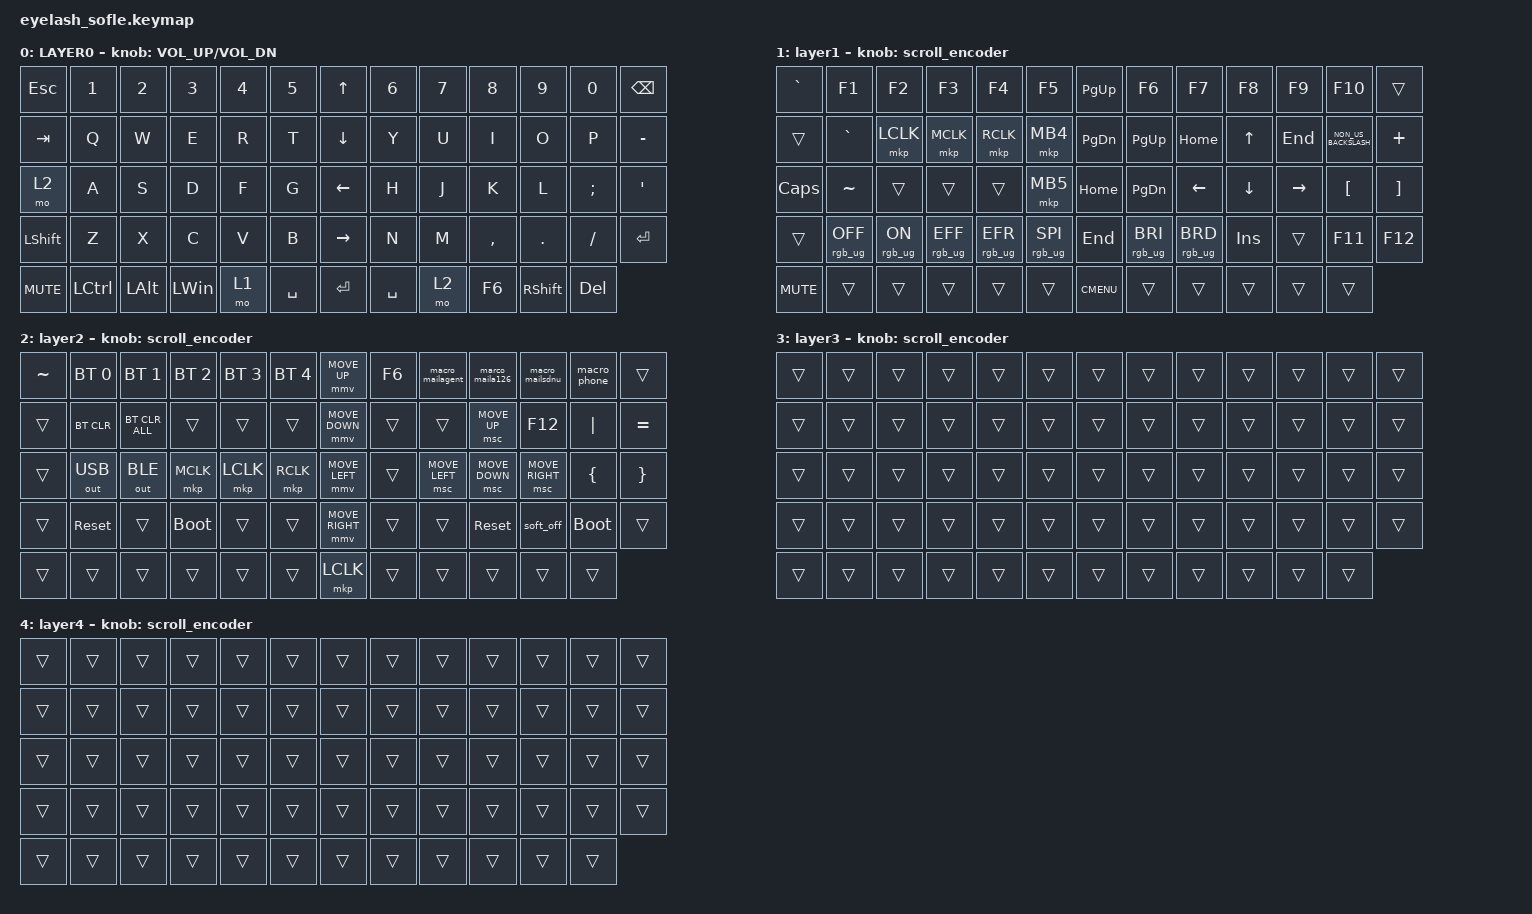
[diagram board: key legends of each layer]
#define ZMK_POINTING_DEFAULT_MOVE_VAL 1200  // 600
#define ZMK_POINTING_DEFAULT_SCRL_VAL 25   // 10

#include <input/processors.dtsi>
#include <zephyr/dt-bindings/input/input-event-codes.h>
#include <behaviors.dtsi>
#include <dt-bindings/zmk/bt.h>
#include <dt-bindings/zmk/keys.h>
#include <dt-bindings/zmk/outputs.h>
#include <dt-bindings/zmk/pointing.h>
#include <dt-bindings/zmk/rgb.h>

&mmv_input_listener { input-processors = <&zip_xy_scaler 2 1>; };

&msc_input_listener { input-processors = <&zip_scroll_scaler 2 1>; };

&msc {
    acceleration-exponent = <1>;      // 0
    time-to-max-speed-ms = <100>;       // 300
    delay-ms = <0>;                   // 0
};

&mmv {
    time-to-max-speed-ms = <500>;
    acceleration-exponent = <1>;
    trigger-period-ms = <16>;
};

&soft_off { hold-time-ms = <2000>; };

/ {
    scroll_encoder: scroll_encoder {
        compatible = "zmk,behavior-sensor-rotate";
        #sensor-binding-cells = <0>;
        bindings = <&msc SCRL_DOWN>, <&msc SCRL_UP>;

        tap-ms = <100>;
    };

    behaviors {
    };

    combos {
        compatible = "zmk,combos";

        softoff {
            bindings = <&soft_off>;
            key-positions = <14 28 40>;
        };

        del {
            bindings = <&kp DEL>;
            key-positions = <11 12>;
            layers = <0>;
        };

        op-leftbrack {
            bindings = <&kp LEFT_BRACKET>;
            key-positions = <23 24>;
            layers = <0>;
        };

        p--rightbrack {
            bindings = <&kp RIGHT_BRACKET>;
            key-positions = <24 25>;
            layers = <0>;
        };

        as-toSave {
            bindings = <&kp LC(S)>;
            key-positions = <27 28>;
            layers = <0>;
        };

        zx-toCancel {
            bindings = <&kp LC(Z)>;
            key-positions = <40 41>;
            layers = <0>;
        };

        xc-toCopy {
            bindings = <&kp LC(C)>;
            key-positions = <41 42>;
            layers = <0>;
        };

        cv-toPaste {
            bindings = <&kp LC(V)>;
            key-positions = <42 43>;
            layers = <0>;
        };

        df-toFind {
            bindings = <&kp LC(F)>;
            key-positions = <29 30>;
            layers = <0>;
        };

        a90-doubleparenth {
            bindings = <&macro_double_kuohao>;
            key-positions = <11 10>;
        };

        atabq-grave {
            bindings = <&kp GRAVE>;
            key-positions = <13 14>;
        };

        ctrlShift {
            bindings = <&kp LC(LEFT_SHIFT)>;
            key-positions = <39 26>;
        };

        f-12 {
            bindings = <&kp F12>;
            key-positions = <51 50>;
        };

        add-comment {
            bindings = <&kp LC(LA(M))>;
            key-positions = <17 21>;
            require-prior-idle-ms = <300>;
        };

        word-modi {
            bindings = <&kp LC(LS(E))>;
            key-positions = <18 20>;
            require-prior-idle-ms = <300>;
        };
    };

    macros {
        SHIFT_MCLK: SHIFT_MCLK {
            compatible = "zmk,behavior-macro";
            #binding-cells = <0>;
            bindings =
                <&macro_press>,
                <&kp LEFT_SHIFT>,
                <&macro_press>,
                <&mkp MB3>,
                <&macro_pause_for_release>,
                <&macro_release>,
                <&kp LEFT_SHIFT &mkp MB3>;

            label = "SHIFT_MCLK";
        };

        macro_phone: new_macro {
            compatible = "zmk,behavior-macro";
            #binding-cells = <0>;
            bindings = <&kp N1 &kp N5 &kp N0 &kp N6 &kp N3 &kp N3 &kp N5 &kp N7 &kp N6 &kp N9 &kp N5>;
            label = "NEW_MACRO";
            wait-ms = <10>;
            tap-ms = <10>;
        };

        macro_mailagent: macro_mailagent {
            compatible = "zmk,behavior-macro";
            #binding-cells = <0>;
            bindings = <&kp A &kp G &kp E &kp N &kp T &kp UNDER &kp Z &kp H &kp A &kp N &kp G &kp L &kp I &kp A &kp N &kp G &kp AT &kp N1 &kp N2 &kp N6 &kp DOT &kp C &kp O &kp M>;
            label = "MACRO_MAILAGENT";
            wait-ms = <10>;
            tap-ms = <10>;
        };

        marco_maila126: marco_mailsdnu {
            compatible = "zmk,behavior-macro";
            #binding-cells = <0>;
            bindings = <&kp A &kp N1 &kp N6 &kp N9 &kp N3 &kp N6 &kp N1 &kp AT &kp N1 &kp N2 &kp N6 &kp DOT &kp C &kp O &kp M>;
            label = "MARCO_MAILSDNU";
            wait-ms = <10>;
            tap-ms = <10>;
        };

        macro_mailsdnu: macro_mailsdnu {
            compatible = "zmk,behavior-macro";
            #binding-cells = <0>;
            bindings = <&kp Z &kp H &kp A &kp N &kp G &kp L &kp I &kp A &kp N &kp G &kp N1 &kp AT &kp S &kp D &kp N &kp U &kp DOT &kp E &kp D &kp U &kp DOT &kp C &kp N>;
            label = "MACRO_MAILSDNU";
            wait-ms = <10>;
            tap-ms = <10>;
        };

        macro_double_kuohao: macro_double_kuohao {
            compatible = "zmk,behavior-macro";
            #binding-cells = <0>;
            bindings = <&kp LEFT_PARENTHESIS &kp RIGHT_PARENTHESIS &kp LEFT_ARROW>;
            label = "MACRO_DOUBLE_KUOHAO";
            wait-ms = <10>;
            tap-ms = <10>;
        };
    };

    keymap {
        compatible = "zmk,keymap";

        layer0 {
            bindings = <
&kp ESC     &kp N1     &kp N2        &kp N3        &kp N4  &kp N5       &kp UP_ARROW     &kp N6     &kp N7  &kp N8     &kp N9           &kp N0      &kp BACKSPACE
&kp TAB     &kp Q      &kp W         &kp E         &kp R   &kp T        &kp DOWN_ARROW   &kp Y      &kp U   &kp I      &kp O            &kp P       &kp MINUS
&mo 2       &kp A      &kp S         &kp D         &kp F   &kp G        &kp LEFT_ARROW   &kp H      &kp J   &kp K      &kp L            &kp SEMI    &kp APOS
&kp LSHFT   &kp Z      &kp X         &kp C         &kp V   &kp B        &kp RIGHT_ARROW  &kp N      &kp M   &kp COMMA  &kp DOT          &kp FSLH    &kp ENTER
&kp C_MUTE  &kp LCTRL  &kp LEFT_ALT  &kp LEFT_WIN  &mo 1   &kp SPACE    &kp ENTER        &kp SPACE  &mo 2   &kp F6     &kp RIGHT_SHIFT  &kp DELETE
            >;

            sensor-bindings = <&inc_dec_kp C_VOLUME_UP C_VOL_DN>;
            display-name = "LAYER0";
        };

        layer_1 {
            bindings = <
&kp GRAVE   &kp F1           &kp F2          &kp F3           &kp F4           &kp F5             &kp PG_UP      &kp F6           &kp F7           &kp F8      &kp F9     &kp F10               &trans
&trans      &kp GRAVE        &mkp LCLK       &mkp MCLK        &mkp RCLK        &mkp MB4           &kp PAGE_DOWN  &kp PG_UP        &kp HOME         &kp UP      &kp END    &kp NON_US_BACKSLASH  &kp PLUS
&kp CLCK    &kp TILDE        &trans          &trans           &trans           &mkp MB5           &kp HOME       &kp PG_DN        &kp LEFT         &kp DOWN    &kp RIGHT  &kp LEFT_BRACKET      &kp RIGHT_BRACKET
&trans      &rgb_ug RGB_OFF  &rgb_ug RGB_ON  &rgb_ug RGB_EFF  &rgb_ug RGB_EFR  &rgb_ug RGB_SPI    &kp END        &rgb_ug RGB_BRI  &rgb_ug RGB_BRD  &kp INSERT  &trans     &kp F11               &kp F12
&kp C_MUTE  &trans           &trans          &trans           &trans           &trans             &kp K_CMENU    &trans           &trans           &trans      &trans     &trans
            >;

            display-name = "layer1";
            sensor-bindings = <&scroll_encoder>;
        };

        layer_2 {
            bindings = <
&kp TILDE  &bt BT_SEL 0  &bt BT_SEL 1    &bt BT_SEL 2  &bt BT_SEL 3  &bt BT_SEL 4    &mmv MOVE_UP     &kp F6  &macro_mailagent  &marco_maila126  &macro_mailsdnu  &macro_phone  &trans
&trans     &bt BT_CLR    &bt BT_CLR_ALL  &trans        &trans        &trans          &mmv MOVE_DOWN   &trans  &trans            &msc MOVE_UP     &kp F12          &kp PIPE      &kp EQUAL
&trans     &out OUT_USB  &out OUT_BLE    &mkp MCLK     &mkp LCLK     &mkp RCLK       &mmv MOVE_LEFT   &trans  &msc MOVE_LEFT    &msc MOVE_DOWN   &msc MOVE_RIGHT  &kp LBRC      &kp RBRC
&trans     &sys_reset    &trans          &bootloader   &trans        &trans          &mmv MOVE_RIGHT  &trans  &trans            &sys_reset       &soft_off        &bootloader   &trans
&trans     &trans        &trans          &trans        &trans        &trans          &mkp LCLK        &trans  &trans            &trans           &trans           &trans
            >;

            display-name = "layer2";
            sensor-bindings = <&scroll_encoder>;
        };

        layer_3 {
            bindings = <
&trans  &trans  &trans  &trans  &trans  &trans    &trans  &trans  &trans  &trans  &trans  &trans  &trans
&trans  &trans  &trans  &trans  &trans  &trans    &trans  &trans  &trans  &trans  &trans  &trans  &trans
&trans  &trans  &trans  &trans  &trans  &trans    &trans  &trans  &trans  &trans  &trans  &trans  &trans
&trans  &trans  &trans  &trans  &trans  &trans    &trans  &trans  &trans  &trans  &trans  &trans  &trans
&trans  &trans  &trans  &trans  &trans  &trans    &trans  &trans  &trans  &trans  &trans  &trans
            >;

            display-name = "layer3";
            sensor-bindings = <&scroll_encoder>;
        };

        layer_4 {
            bindings = <
&trans  &trans  &trans  &trans  &trans  &trans    &trans  &trans  &trans  &trans  &trans  &trans  &trans
&trans  &trans  &trans  &trans  &trans  &trans    &trans  &trans  &trans  &trans  &trans  &trans  &trans
&trans  &trans  &trans  &trans  &trans  &trans    &trans  &trans  &trans  &trans  &trans  &trans  &trans
&trans  &trans  &trans  &trans  &trans  &trans    &trans  &trans  &trans  &trans  &trans  &trans  &trans
&trans  &trans  &trans  &trans  &trans  &trans    &trans  &trans  &trans  &trans  &trans  &trans
            >;

            display-name = "layer4";
            sensor-bindings = <&scroll_encoder>;
        };
    };
};
